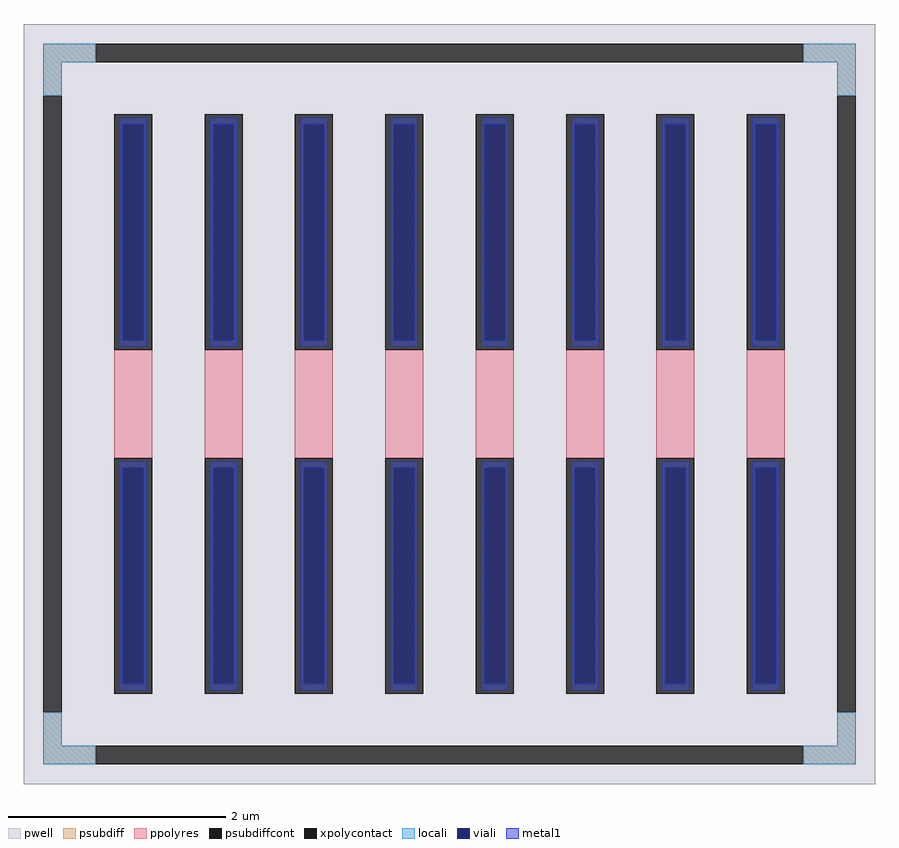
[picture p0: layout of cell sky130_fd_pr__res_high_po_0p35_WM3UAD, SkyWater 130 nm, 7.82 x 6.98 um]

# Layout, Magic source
magic
tech sky130A
magscale 1 2
<< pwell >>
rect -782 -698 782 698
<< psubdiff >>
rect -746 628 -650 662
rect 650 628 746 662
rect -746 566 -712 628
rect 712 566 746 628
rect -746 -628 -712 -566
rect 712 -628 746 -566
rect -746 -662 -650 -628
rect 650 -662 746 -628
<< psubdiffcont >>
rect -650 628 650 662
rect -746 -566 -712 566
rect 712 -566 746 566
rect -650 -662 650 -628
<< xpolycontact >>
rect -616 100 -546 532
rect -616 -532 -546 -100
rect -450 100 -380 532
rect -450 -532 -380 -100
rect -284 100 -214 532
rect -284 -532 -214 -100
rect -118 100 -48 532
rect -118 -532 -48 -100
rect 48 100 118 532
rect 48 -532 118 -100
rect 214 100 284 532
rect 214 -532 284 -100
rect 380 100 450 532
rect 380 -532 450 -100
rect 546 100 616 532
rect 546 -532 616 -100
<< ppolyres >>
rect -616 -100 -546 100
rect -450 -100 -380 100
rect -284 -100 -214 100
rect -118 -100 -48 100
rect 48 -100 118 100
rect 214 -100 284 100
rect 380 -100 450 100
rect 546 -100 616 100
<< locali >>
rect -746 628 -650 662
rect 650 628 746 662
rect -746 566 -712 628
rect 712 566 746 628
rect -746 -628 -712 -566
rect 712 -628 746 -566
rect -746 -662 -650 -628
rect 650 -662 746 -628
<< viali >>
rect -600 117 -562 514
rect -434 117 -396 514
rect -268 117 -230 514
rect -102 117 -64 514
rect 64 117 102 514
rect 230 117 268 514
rect 396 117 434 514
rect 562 117 600 514
rect -600 -514 -562 -117
rect -434 -514 -396 -117
rect -268 -514 -230 -117
rect -102 -514 -64 -117
rect 64 -514 102 -117
rect 230 -514 268 -117
rect 396 -514 434 -117
rect 562 -514 600 -117
<< metal1 >>
rect -606 514 -556 526
rect -606 117 -600 514
rect -562 117 -556 514
rect -606 105 -556 117
rect -440 514 -390 526
rect -440 117 -434 514
rect -396 117 -390 514
rect -440 105 -390 117
rect -274 514 -224 526
rect -274 117 -268 514
rect -230 117 -224 514
rect -274 105 -224 117
rect -108 514 -58 526
rect -108 117 -102 514
rect -64 117 -58 514
rect -108 105 -58 117
rect 58 514 108 526
rect 58 117 64 514
rect 102 117 108 514
rect 58 105 108 117
rect 224 514 274 526
rect 224 117 230 514
rect 268 117 274 514
rect 224 105 274 117
rect 390 514 440 526
rect 390 117 396 514
rect 434 117 440 514
rect 390 105 440 117
rect 556 514 606 526
rect 556 117 562 514
rect 600 117 606 514
rect 556 105 606 117
rect -606 -117 -556 -105
rect -606 -514 -600 -117
rect -562 -514 -556 -117
rect -606 -526 -556 -514
rect -440 -117 -390 -105
rect -440 -514 -434 -117
rect -396 -514 -390 -117
rect -440 -526 -390 -514
rect -274 -117 -224 -105
rect -274 -514 -268 -117
rect -230 -514 -224 -117
rect -274 -526 -224 -514
rect -108 -117 -58 -105
rect -108 -514 -102 -117
rect -64 -514 -58 -117
rect -108 -526 -58 -514
rect 58 -117 108 -105
rect 58 -514 64 -117
rect 102 -514 108 -117
rect 58 -526 108 -514
rect 224 -117 274 -105
rect 224 -514 230 -117
rect 268 -514 274 -117
rect 224 -526 274 -514
rect 390 -117 440 -105
rect 390 -514 396 -117
rect 434 -514 440 -117
rect 390 -526 440 -514
rect 556 -117 606 -105
rect 556 -514 562 -117
rect 600 -514 606 -117
rect 556 -526 606 -514
<< properties >>
string FIXED_BBOX -729 -645 729 645
string gencell sky130_fd_pr__res_high_po_0p35
string library sky130
string parameters w 0.35 l 1.0 m 1 nx 8 wmin 0.350 lmin 0.50 rho 319.8 val 2.026k dummy 0 dw 0.0 term 194.82 sterm 0.0 caplen 0 guard 1 glc 1 grc 1 gtc 1 gbc 1 compatible {sky130_fd_pr__res_high_po_0p35  sky130_fd_pr__res_high_po_0p69 sky130_fd_pr__res_high_po_1p41  sky130_fd_pr__res_high_po_2p85 sky130_fd_pr__res_high_po_5p73} snake 0 full_metal 1 wmax 0.350 vias 1 n_guard 0 hv_guard 0 viagb 0 viagt 0 viagl 0 viagr 0
<< end >>
